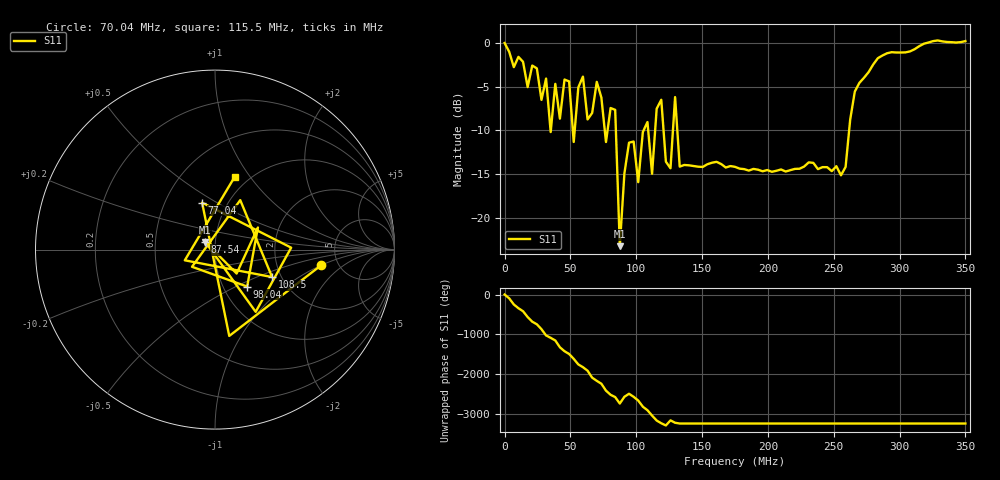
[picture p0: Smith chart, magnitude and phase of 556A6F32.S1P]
!File created by NanoVNA
# Hz S RI R 50
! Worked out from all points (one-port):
!   101 points, 50 kHz to 350 MHz, reference 50 ohm
!   lowest |S11| = -23.2 dB at 87.54 MHz (marker M1), VSWR 1.15, Z = 44.7 + j3.83 ohm
!   |S11| at or under -10 dB: 84.57 MHz to 105.6 MHz (21.04 MHz wide, 22.1 % of centre); 120.8 MHz to 127.9 MHz (7.131 MHz wide, 5.74 % of centre); 131.2 MHz to 261.7 MHz (130.5 MHz wide, 66.4 % of centre) (the widest 3 of 7)
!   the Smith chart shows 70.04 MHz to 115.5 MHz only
!   S11 on the Smith chart (normalised r, x): 70.04 MHz: 3.70, -0.99; 77.04 MHz: 0.76, +0.43; 87.54 MHz: 0.89, +0.08; 98.04 MHz: 1.29, -0.58; 108.5 MHz: 1.79, -0.63; 115.5 MHz: 0.86, +0.85
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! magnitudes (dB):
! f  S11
! 50 kHz  0.0
! 31.55 MHz  -4.1
! 35.05 MHz  -10.2
! 38.54 MHz  -4.7
! 42.04 MHz  -8.7
! 45.54 MHz  -4.2
! 52.54 MHz  -11.3
! 56.04 MHz  -5.1
! 63.04 MHz  -8.7
! 70.04 MHz  -4.4
! 77.04 MHz  -11.3
! 84.04 MHz  -7.7
! 87.54 MHz  -23.2
! 91.04 MHz  -14.9
! 98.04 MHz  -11.3
! 101.5 MHz  -15.9
! 108.5 MHz  -9.0
! 112 MHz  -15.0
! 115.5 MHz  -7.5
! 126 MHz  -14.3
! 129.5 MHz  -6.2
! 133 MHz  -14.1
! 175 MHz  -14.2
! 220.5 MHz  -14.4
! 255.5 MHz  -15.1
! 262.5 MHz  -8.8
! 308 MHz  -1.0
! 350 MHz  0.2
